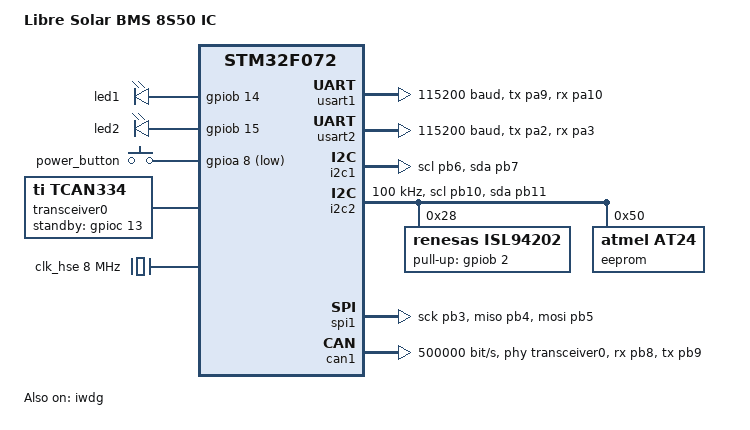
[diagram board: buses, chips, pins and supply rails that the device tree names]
/*
 * Copyright (c) The Libre Solar Project Contributors
 *
 * SPDX-License-Identifier: Apache-2.0
 */

/*
 * This is the legacy version v0.1 of the board which could be used with STM32F0 instead of STM32L0.
 * Future revisions of this BMS will use the STM32L4 MCU.
 */

/dts-v1/;
#include <st/f0/stm32f072Xb.dtsi>
#include <st/f0/stm32f072c(8-b)tx-pinctrl.dtsi>

/ {
	model = "Libre Solar BMS 8S50 IC";
	compatible = "st,stm32f072";

	pcb {
		compatible = "bms";

		type = "BMS 8S50 IC";
		version-str = "v0.1";
		version-num = <1>;

		num-cells-max = <8>;
		num-thermistors-max = <2>;

		current-max = <50>;
		shunt-res = <1000>;

		/*
		 * Additional information:
		 * - Has MOSFET temperature sensor
		 * - PIN_V_EXT     PA_5
		 * - PIN_TEMP_1    PA_6
		 * - PIN_TEMP_2    PA_7
		 */
	};

	chosen {
		zephyr,console = &usart1;
		zephyr,shell-uart = &usart1;
		zephyr,sram = &sram0;
		zephyr,flash = &flash0;
	};

	leds {
		compatible = "gpio-leds";
		led1: led_0 {
			gpios = <&gpiob 14 GPIO_ACTIVE_HIGH>;
		};
		led2: led_1 {
			gpios = <&gpiob 15 GPIO_ACTIVE_HIGH>;
		};
	};

	gpio_keys {
		compatible = "gpio-keys";
		power_button: button {
			gpios = <&gpioa 8 GPIO_ACTIVE_LOW>;
		};
	};

	transceiver0: can-phy0 {
		compatible = "ti,tcan334", "can-transceiver-gpio";
		max-bitrate = <1000000>;
		standby-gpios = <&gpioc 13 GPIO_ACTIVE_HIGH>;
		#phy-cells = <0>;
	};

	aliases {
		led-red = &led1;
		led-green = &led2;
		sw-pwr = &power_button;
		i2c-uext = &i2c1;
		uart-dbg = &usart1;
	};
};

&clk_hse {
	clock-frequency = <DT_FREQ_M(8)>;
	status = "okay";
};

&pll {
	clocks = <&clk_hse>;
	prediv = <1>;
	mul = <6>;
	status = "okay";
};

&rcc {
	clocks = <&pll>;
	clock-frequency = <DT_FREQ_M(48)>;
	ahb-prescaler = <1>;
	apb1-prescaler = <1>;
};

&usart1 {
	pinctrl-0 = <&usart1_tx_pa9 &usart1_rx_pa10>;
	pinctrl-names = "default";
	current-speed = <115200>;
	status = "okay";
};

&usart1_rx_pa10 {
	bias-pull-up;	// avoid junk characters if pin is left floating
};

&usart2 {
	pinctrl-0 = <&usart2_tx_pa2 &usart2_rx_pa3>;
	pinctrl-names = "default";
	current-speed = <115200>;
	status = "okay";
};

&usart2_rx_pa3 {
	bias-pull-up;	// avoid junk characters if pin is left floating
};

&i2c1 {
	pinctrl-0 = <&i2c1_scl_pb6 &i2c1_sda_pb7>;
	pinctrl-names = "default";
	status = "okay";
};

&i2c2 {
	pinctrl-0 = <&i2c2_scl_pb10 &i2c2_sda_pb11>;
	pinctrl-names = "default";
	clock-frequency = <I2C_BITRATE_STANDARD>;
	status = "okay";

	isl94202@28 {
		compatible = "renesas,isl94202";
		reg = <0x28>;	/* 0x50 >> 1 */
		pull-up-gpios = <&gpiob 2 GPIO_ACTIVE_HIGH>;
	};

	eeprom@50 {
		// Microchip 24AA32A
		compatible = "atmel,at24";
		reg = <0x50>;
		size = <32768>;
		pagesize = <32>;
		address-width = <16>;
		/*
		 * timeout of 5 ms as suggested in datasheet seems too optimistic
		 * (several write errors occured during testing)
		 */
		timeout = <7>;
	};
};

&spi1 {
	pinctrl-0 = <&spi1_sck_pb3 &spi1_miso_pb4 &spi1_mosi_pb5>;
	pinctrl-names = "default";
	cs-gpios = <&gpioa 15 GPIO_ACTIVE_LOW>;
	status = "okay";
};

&iwdg {
	status = "okay";
};

&can1 {
	pinctrl-0 = <&can_rx_pb8 &can_tx_pb9>;
	pinctrl-names = "default";
	bus-speed = <500000>;
	phys = <&transceiver0>;
	status = "okay";
};
